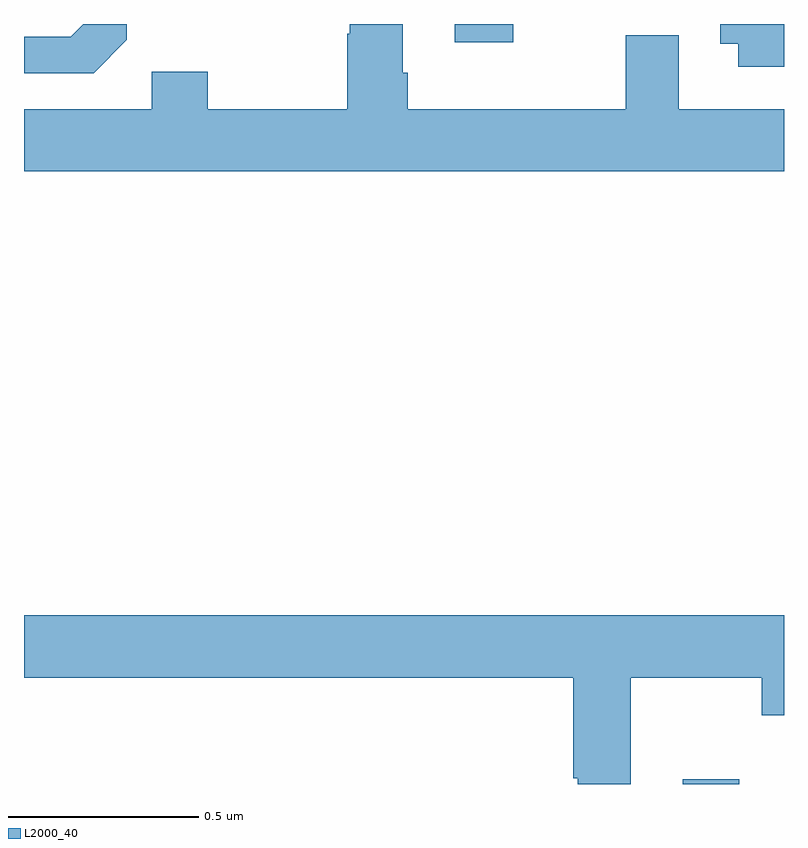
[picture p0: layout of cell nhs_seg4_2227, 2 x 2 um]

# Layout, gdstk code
import gdstk
lib = gdstk.Library(unit=1e-6, precision=1e-09)
def R(c, l, rs):  # rectangles x0, y0, x1, y1
    for r in rs: c.add(gdstk.rectangle(r[:2], r[2:], *l))
def P(c, l, *ps):  # polygons
    for p in ps: c.add(gdstk.Polygon(p, *l))
L2000_40 = (2000, 40)

nhs_seg4_2227 = lib.new_cell('nhs_seg4_2227')
R(nhs_seg4_2227, L2000_40, [(139.733,769.9,139.882,769.912), (139.133,771.852,139.288,771.9)])
P(nhs_seg4_2227, L2000_40, [(140,771.676),(139.723,771.676),(139.723,771.871),(139.583,771.871),(139.583,771.676),(139.01,771.676),(139.01,771.772),(138.997,771.772),(138.997,771.9),(138.857,771.9),(138.857,771.875),(138.85,771.875),(138.85,771.676),(138.483,771.676),(138.483,771.775),(138.336,771.775),(138.336,771.676),(138,771.676),(138,771.512),(140,771.512)],
  [(140,771.9),(139.832,771.9),(139.832,771.848),(139.88,771.848),(139.88,771.788),(140,771.788)],
  [(138.27,771.858),(138.27,771.9),(138.156,771.9),(138.123,771.867),(138,771.867),(138,771.771),(138.183,771.771)],
  [(139.597,770.18),(139.942,770.18),(139.942,770.081),(140,770.081),(140,770.344),(138,770.344),(138,770.18),(139.445,770.18),(139.445,769.915),(139.457,769.915),(139.457,769.9),(139.597,769.9)])

lib.write_gds('nhs_seg4_2227.gds')
